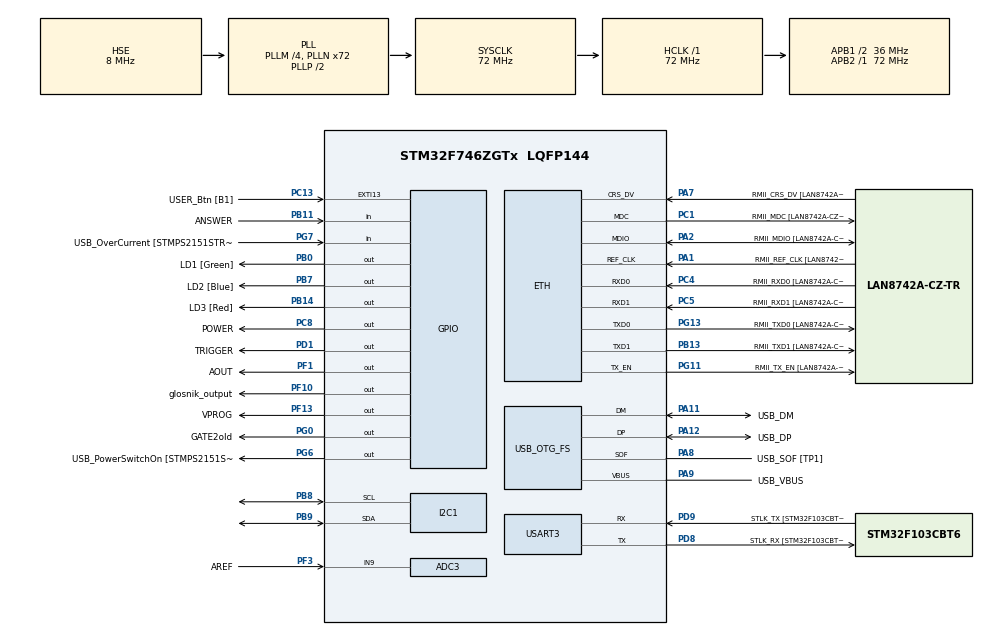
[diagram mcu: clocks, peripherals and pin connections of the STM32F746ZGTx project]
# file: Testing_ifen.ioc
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ADC3.Channel-0\#ChannelRegularConversion=ADC_CHANNEL_9
ADC3.NbrOfConversionFlag=1
ADC3.Rank-0\#ChannelRegularConversion=1
ADC3.SamplingTime-0\#ChannelRegularConversion=ADC_SAMPLETIME_3CYCLES
ETH.MediaInterface=HAL_ETH_RMII_MODE
ETH.PHY_Name=LAN8742A_PHY_ADDRESS
ETH.PHY_Value=0
ETH.PhyAddress=0
I2C1.Timing=0x00808CD2
Mcu.Family=STM32F7
Mcu.Name=STM32F746ZGTx
Mcu.Package=LQFP144
NVIC.PriorityGroup=NVIC_PRIORITYGROUP_4
NVIC.TIM3_IRQn=true\:0\:0\:false\:false\:true\:true\:true\:true
NVIC.TIM4_IRQn=true\:0\:0\:false\:false\:true\:true\:true\:true
PA1.GPIO_Label=RMII_REF_CLK [LAN8742A-CZ-TR_REFCLK0]
PA1.Mode=RMII
PA1.Signal=ETH_REF_CLK
PA10.GPIO_Label=USB_ID
PA10.Signal=USB_OTG_FS_ID
PA11.GPIO_Label=USB_DM
PA11.Mode=Device_Only
PA11.Signal=USB_OTG_FS_DM
PA12.GPIO_Label=USB_DP
PA12.Mode=Device_Only
PA12.Signal=USB_OTG_FS_DP
PA13.GPIO_Label=TMS
PA13.Mode=Serial_Wire
PA13.Signal=SYS_JTMS-SWDIO
PA14.GPIO_Label=TCK
PA14.Mode=Serial_Wire
PA14.Signal=SYS_JTCK-SWCLK
PA2.GPIO_Label=RMII_MDIO [LAN8742A-CZ-TR_MDIO]
PA2.Mode=RMII
PA2.Signal=ETH_MDIO
PA7.GPIO_Label=RMII_CRS_DV [LAN8742A-CZ-TR_CRS_DV]
PA7.Mode=RMII
PA7.Signal=ETH_CRS_DV
PA8.GPIO_Label=USB_SOF [TP1]
PA8.Mode=Activate_SOF_FS
PA8.Signal=USB_OTG_FS_SOF
PA9.GPIO_Label=USB_VBUS
PA9.Mode=Activate_VBUS
PA9.Signal=USB_OTG_FS_VBUS
PB0.GPIO_Label=LD1 [Green]
PB0.Signal=GPIO_Output
PB11.GPIO_Label=ANSWER
PB11.Signal=GPIO_Input
PB13.GPIO_Label=RMII_TXD1 [LAN8742A-CZ-TR_TXD1]
PB13.Mode=RMII
PB13.Signal=ETH_TXD1
PB14.GPIO_Label=LD3 [Red]
PB14.Signal=GPIO_Output
PB3.GPIO_Label=SW0
PB3.Signal=SYS_JTDO-SWO
PB7.GPIO_Label=LD2 [Blue]
PB7.Signal=GPIO_Output
PB8.Mode=I2C
PB8.Signal=I2C1_SCL
PB9.Mode=I2C
PB9.Signal=I2C1_SDA
PC1.GPIO_Label=RMII_MDC [LAN8742A-CZ-TR_MDC]
PC1.Mode=RMII
PC1.Signal=ETH_MDC
PC13.GPIO_Label=USER_Btn [B1]
PC13.Signal=GPXTI13
PC14/OSC32_IN.Mode=LSE-External-Oscillator
PC14/OSC32_IN.Signal=RCC_OSC32_IN
PC15/OSC32_OUT.Mode=LSE-External-Oscillator
PC15/OSC32_OUT.Signal=RCC_OSC32_OUT
PC4.GPIO_Label=RMII_RXD0 [LAN8742A-CZ-TR_RXD0]
PC4.Mode=RMII
PC4.Signal=ETH_RXD0
PC5.GPIO_Label=RMII_RXD1 [LAN8742A-CZ-TR_RXD1]
PC5.Mode=RMII
PC5.Signal=ETH_RXD1
PC8.GPIO_Label=POWER
PC8.GPIO_ModeDefaultOutputPP=GPIO_MODE_OUTPUT_OD
PC8.GPIO_PuPd=GPIO_PULLUP
PC8.Signal=GPIO_Output
PD1.GPIO_Label=TRIGGER
PD1.Signal=GPIO_Output
PD8.GPIO_Label=STLK_RX [STM32F103CBT6_PA3]
PD8.GPIO_PuPd=GPIO_PULLUP
PD8.Mode=Asynchronous
PD8.Signal=USART3_TX
PD9.GPIO_Label=STLK_TX [STM32F103CBT6_PA2]
PD9.GPIO_PuPd=GPIO_PULLUP
PD9.Mode=Asynchronous
PD9.Signal=USART3_RX
PF1.GPIO_Label=AOUT
PF1.GPIO_ModeDefaultOutputPP=GPIO_MODE_OUTPUT_OD
PF1.GPIO_PuPd=GPIO_PULLUP
PF1.GPIO_Speed=GPIO_SPEED_FREQ_LOW
PF1.Signal=GPIO_Output
PF10.GPIO_Label=glosnik_output
PF10.Signal=GPIO_Output
PF13.GPIO_Label=VPROG
PF13.Signal=GPIO_Output
PF3.GPIO_Label=AREF
PF3.Mode=IN9
PF3.Signal=ADC3_IN9
PG0.GPIO_Label=GATE2old
PG0.Signal=GPIO_Output
PG11.GPIO_Label=RMII_TX_EN [LAN8742A-CZ-TR_TXEN]
PG11.Mode=RMII
PG11.Signal=ETH_TX_EN
PG13.GPIO_Label=RMII_TXD0 [LAN8742A-CZ-TR_TXD0]
PG13.Mode=RMII
PG13.Signal=ETH_TXD0
PG6.GPIO_Label=USB_PowerSwitchOn [STMPS2151STR_EN]
PG6.Signal=GPIO_Output
PG7.GPIO_Label=USB_OverCurrent [STMPS2151STR_FAULT]
PG7.Signal=GPIO_Input
PH0/OSC_IN.GPIO_Label=MCO [STM32F103CBT6_PA8]
PH0/OSC_IN.Mode=HSE-External-Oscillator
PH0/OSC_IN.Signal=RCC_OSC_IN
PH1/OSC_OUT.Mode=HSE-External-Oscillator
PH1/OSC_OUT.Signal=RCC_OSC_OUT
ProjectManager.HeapSize=0x200
ProjectManager.StackSize=0x400
ProjectManager.TargetToolchain=STM32CubeIDE
RCC.48MHZClocksFreq_Value=24000000
RCC.AHBFreq_Value=72000000
RCC.APB1CLKDivider=RCC_HCLK_DIV2
RCC.APB1Freq_Value=36000000
RCC.APB1TimFreq_Value=72000000
RCC.APB2Freq_Value=72000000
RCC.APB2TimFreq_Value=72000000
RCC.CortexFreq_Value=72000000
RCC.HCLKFreq_Value=72000000
RCC.HSE_VALUE=8000000
RCC.HSI_VALUE=16000000
RCC.PLLM=4
RCC.PLLMUL=RCC_PLL_MUL9
RCC.PLLN=72
RCC.PLLQ=3
RCC.PRESCALERUSB=RCC_USBCLKSOURCE_PLL_DIV1_5
RCC.SYSCLKFreq_VALUE=72000000
RCC.SYSCLKSource=RCC_SYSCLKSOURCE_PLLCLK
RCC.SYSCLKSourceVirtual=RCC_SYSCLKSOURCE_PLLCLK
RCC.USBFreq_Value=48000000
RCC.VCOOutputFreq_Value=144000000
TIM1.Prescaler=720
TIM3.Period=10-1
TIM3.Prescaler=720-1
TIM4.Period=10000-1
TIM4.Prescaler=7200-1
USART3.VirtualMode-Asynchronous=VM_ASYNC
USB_OTG_FS.VirtualMode=Device_Only
VP_TIM1_VS_ClockSourceINT.Mode=Internal
VP_TIM3_VS_ClockSourceINT.Mode=Internal
VP_TIM4_VS_ClockSourceINT.Mode=Internal
board=NUCLEO-F746ZG

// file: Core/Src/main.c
/* USER CODE BEGIN Header */
/**
  ******************************************************************************
  * @file           : main.c
  * @brief          : Main program body
  ******************************************************************************
  * @attention
  *
  * Copyright (c) 2025 STMicroelectronics.
  * All rights reserved.
  *
  * This software is licensed under terms that can be found in the LICENSE file
  * in the root directory of this software component.
  * If no LICENSE file comes with this software, it is provided AS-IS.
  *
  ******************************************************************************
  */
/* USER CODE END Header */
#include "main.h"
#include "string.h"

/* USER CODE BEGIN Includes */
#include <stdbool.h>
/* USER CODE END Includes */

/* USER CODE BEGIN PD */
#define CRC_POLYNOMIAL 0x1D
#define CRC_SEED 0xAA

/* USER CODE END PD */

#if defined ( __ICCARM__ ) /*!< IAR Compiler */
#pragma location=0x2004c000
ETH_DMADescTypeDef  DMARxDscrTab[ETH_RX_DESC_CNT]; /* Ethernet Rx DMA Descriptors */
#pragma location=0x2004c0a0
ETH_DMADescTypeDef  DMATxDscrTab[ETH_TX_DESC_CNT]; /* Ethernet Tx DMA Descriptors */

#elif defined ( __CC_ARM )  /* MDK ARM Compiler */

__attribute__((at(0x2004c000))) ETH_DMADescTypeDef  DMARxDscrTab[ETH_RX_DESC_CNT]; /* Ethernet Rx DMA Descriptors */
__attribute__((at(0x2004c0a0))) ETH_DMADescTypeDef  DMATxDscrTab[ETH_TX_DESC_CNT]; /* Ethernet Tx DMA Descriptors */

#elif defined ( __GNUC__ ) /* GNU Compiler */

ETH_DMADescTypeDef DMARxDscrTab[ETH_RX_DESC_CNT] __attribute__((section(".RxDecripSection"))); /* Ethernet Rx DMA Descriptors */
ETH_DMADescTypeDef DMATxDscrTab[ETH_TX_DESC_CNT] __attribute__((section(".TxDecripSection")));   /* Ethernet Tx DMA Descriptors */
#endif

ETH_TxPacketConfig TxConfig;

ADC_HandleTypeDef hadc3;

ETH_HandleTypeDef heth;

I2C_HandleTypeDef hi2c1;

TIM_HandleTypeDef htim1;
TIM_HandleTypeDef htim3;
TIM_HandleTypeDef htim4;

UART_HandleTypeDef huart3;

PCD_HandleTypeDef hpcd_USB_OTG_FS;

void SystemClock_Config(void);
static void MX_GPIO_Init(void);
static void MX_ETH_Init(void);
static void MX_I2C1_Init(void);
static void MX_USART3_UART_Init(void);
static void MX_USB_OTG_FS_PCD_Init(void);
static void MX_ADC3_Init(void);
static void MX_TIM3_Init(void);
static void MX_TIM4_Init(void);
static void MX_TIM1_Init(void);

/* USER CODE BEGIN 0 */

uint8_t crc_value = 0;
uint8_t checkmark = 0;
uint8_t bit_counter = 0;
uint8_t word_counter = 0;
uint8_t reg_counter = 0;
uint8_t reg_selector = 0;
uint8_t sequence_counter = 0;
uint16_t vprog_counter = 0;

uint16_t picker = 1;

const uint8_t FrameMatrix[2][6] = {{0, 1  ,1,    0,     1,   1}, {0     ,0     ,1,     0   ,1    ,1 }};
const uint8_t TIFEN_Matrix[6] = {0,0,0,0,1,1};

const uint16_t WordABCD = 0xABCD;
uint16_t EPROMreg[2][18] = {0}; // you can read EEPROM in 'live expressions' sesction in debugging. Just run the program, go into debug section (shortcut: F11), click 'resume' (F8) and go into 'live expressions'.
const uint16_t ReadWords[38] = {0x8250, 0x8000, 0x0400, 0xffff, 0x0410, 0xffff, 0x0420, 0xffff, 0x0430, 0xffff, 0x0440, 0xffff,
		 0x0450, 0xffff,  0x0460, 0xffff, 0x0470, 0xffff, 0x0480, 0xffff, 0x0490, 0xffff, 0x04a0, 0xffff, 0x04b0, 0xffff,
		 0x04c0, 0xffff, 0x04d0, 0xffff, 0x04e0, 0xffff, 0x04f0, 0xffff, 0x0500, 0xffff, 0x0510, 0xffff};
//uint16_t WriteWords[18] = {1,2,3,4, 5,6,7,8, 9,0xa,0xb,0xc, 0xd,0xe,0xf,0x10, 0x11,0x12}; // dodac wyrazy do zapisania na EEPROM
uint16_t ProgrammingSeq[12] = {0x8400, 0x0, 0x83e0, 0x024f, 0x83e0, 0x024c, 0x8400, 0x0, 0x83e0, 0x024e, 0x83e0, 0x024c}; // dodac programming sequence
uint8_t glosnik_counter = 0;
//Below is the same values as default but with 0xc00c on 0x40 address which means that MEAS_RNG is 50A with 24mV/A
uint16_t WriteWords[18] = {0xc038,0x8e57,0x0,0xf288,0x16f,0x1,0xc862,0xe1fb,0xff,0xe6,0x3e,0x18e7,0x0,0xb700,0xc0f,0x1c51,0xb6cf,0x180}; // dodac wyrazy do zapisania na EEPROM

//variables for custom message:

const uint16_t CustomMsg[] = {0x8250, 0x8000, 0x0180, 0xffff};//custom massage to send to TLI4971
#define custom_msg_size (sizeof(CustomMsg)/sizeof(CustomMsg[0]))
const uint8_t AnswerSchematic[custom_msg_size] = {0, 0, 0, 1};// Most of the time you don't need to read what TLI is sending so to not fill AnswerCustomArray with garbage, you can write '1' to specify when to read the answer. Write all '1' in array to read every word the TLI is sending.
uint8_t AnswerCustomMsg_counter = 0;
uint16_t AnswerCustomMsg[custom_msg_size] = {0};
//uint16_t *AnswerCustomMsg = NULL;

//uint32_t WORD[5] = {0xabcd, 0x8250, 0x8000, 0x180, 0xffff}; // TEMPERATURA;
//                    0         1      2      3        4        5     6        7      8       9      10        11
//uint32_t WORD[39] = {0xabcd, 0x8250, 0x8000, 0x0400,0xFFFF, 0x0410,0xFFFF,0x0420,0xFFFF,0x0430,0xFFFF,0x0440,0xFFFF,0x0450,0xFFFF,0x0460,0xFFFF,0x0470,0xFFFF,0x0480,0xFFFF,0x0490,0xFFFF,0x04a0,0xFFFF,0x04b0,0xFFFF,0x04c0,0xFFFF,0x04d0,0xFFFF,0x04e0,0xFFFF,0x04f0,0xFFFF,0x0500,0xFFFF,0x0510,0xFFFF};
//uint32_t WORD[12] = {0xabcd, 0x8250, 0x8000, 0x8010, 0x0000, 0x0110,0xFFFF, 0x8110, 0xc00c, 0xffff, 0x0110, 0xffff };
//uint32_t WORD[10] = {0xabcd, 0x8250, 0x8000, 0x8010, 0x0000, 0x0420, 0x0420, 0x0410, 0x0410, 0xffff};
//uint32_t WORD[12] = {0xabcd, 0x8250, 0x8000,0x8000, 0x8010, 0x0400, 0xffff, 0x8400, 0xc00c, 0xffff, 0x0400, 0xffff }; //, 0x8010, 0x0000, 0x0430,0xFFFF, 0x0140, 0xFFFF };

/* USER CODE END 0 */

int main(void)
{

  /* USER CODE BEGIN 1 */

//	AnswerCustomMsg = calloc(sumOfArray(AnswerSchematic, sizeof(AnswerSchematic)), sizeof(uint16_t));
//	AnswerCustomMsg = calloc( 4, sizeof(uint16_t));

  /* USER CODE END 1 */

  /* MCU Configuration--------------------------------------------------------*/

  /* Reset of all peripherals, Initializes the Flash interface and the Systick. */
  HAL_Init();

  /* Configure the system clock */
  SystemClock_Config();

  /* Initialize all configured peripherals */
  MX_GPIO_Init();
  MX_ETH_Init();
  MX_I2C1_Init();
  MX_USART3_UART_Init();
  MX_USB_OTG_FS_PCD_Init();
  MX_ADC3_Init();
  MX_TIM3_Init();
  MX_TIM4_Init();
  MX_TIM1_Init();
  /* USER CODE BEGIN 2 */

  HAL_TIM_Base_Start_IT(&htim3);
  HAL_TIM_Base_Start_IT(&htim1);
  HAL_TIM_Base_Start_IT(&htim4);

  /* USER CODE END 2 */

  /* Infinite loop */
  while (1)
  {

  }
}

void SystemClock_Config(void)
{
  RCC_OscInitTypeDef RCC_OscInitStruct = {0};
  RCC_ClkInitTypeDef RCC_ClkInitStruct = {0};

  /** Configure LSE Drive Capability
  */
  HAL_PWR_EnableBkUpAccess();

  /** Configure the main internal regulator output voltage
  */
  __HAL_RCC_PWR_CLK_ENABLE();
  __HAL_PWR_VOLTAGESCALING_CONFIG(PWR_REGULATOR_VOLTAGE_SCALE3);

  /** Initializes the RCC Oscillators according to the specified parameters
  * in the RCC_OscInitTypeDef structure.
  */
  RCC_OscInitStruct.OscillatorType = RCC_OSCILLATORTYPE_HSE;
  RCC_OscInitStruct.HSEState = RCC_HSE_ON;
  RCC_OscInitStruct.PLL.PLLState = RCC_PLL_ON;
  RCC_OscInitStruct.PLL.PLLSource = RCC_PLLSOURCE_HSE;
  RCC_OscInitStruct.PLL.PLLM = 4;
  RCC_OscInitStruct.PLL.PLLN = 72;
  RCC_OscInitStruct.PLL.PLLP = RCC_PLLP_DIV2;
  RCC_OscInitStruct.PLL.PLLQ = 3;
  if (HAL_RCC_OscConfig(&RCC_OscInitStruct) != HAL_OK)
  {
    Error_Handler();
  }

  /** Initializes the CPU, AHB and APB buses clocks
  */
  RCC_ClkInitStruct.ClockType = RCC_CLOCKTYPE_HCLK|RCC_CLOCKTYPE_SYSCLK
                              |RCC_CLOCKTYPE_PCLK1|RCC_CLOCKTYPE_PCLK2;
  RCC_ClkInitStruct.SYSCLKSource = RCC_SYSCLKSOURCE_PLLCLK;
  RCC_ClkInitStruct.AHBCLKDivider = RCC_SYSCLK_DIV1;
  RCC_ClkInitStruct.APB1CLKDivider = RCC_HCLK_DIV2;
  RCC_ClkInitStruct.APB2CLKDivider = RCC_HCLK_DIV1;

  if (HAL_RCC_ClockConfig(&RCC_ClkInitStruct, FLASH_LATENCY_2) != HAL_OK)
  {
    Error_Handler();
  }
}

static void MX_ADC3_Init(void)
{

  ADC_ChannelConfTypeDef sConfig = {0};

  /** Configure the global features of the ADC (Clock, Resolution, Data Alignment and number of conversion)
  */
  hadc3.Instance = ADC3;
  hadc3.Init.ClockPrescaler = ADC_CLOCK_SYNC_PCLK_DIV2;
  hadc3.Init.Resolution = ADC_RESOLUTION_12B;
  hadc3.Init.ScanConvMode = ADC_SCAN_DISABLE;
  hadc3.Init.ContinuousConvMode = DISABLE;
  hadc3.Init.DiscontinuousConvMode = DISABLE;
  hadc3.Init.ExternalTrigConvEdge = ADC_EXTERNALTRIGCONVEDGE_NONE;
  hadc3.Init.ExternalTrigConv = ADC_SOFTWARE_START;
  hadc3.Init.DataAlign = ADC_DATAALIGN_RIGHT;
  hadc3.Init.NbrOfConversion = 1;
  hadc3.Init.DMAContinuousRequests = DISABLE;
  hadc3.Init.EOCSelection = ADC_EOC_SINGLE_CONV;
  if (HAL_ADC_Init(&hadc3) != HAL_OK)
  {
    Error_Handler();
  }

  /** Configure for the selected ADC regular channel its corresponding rank in the sequencer and its sample time.
  */
  sConfig.Channel = ADC_CHANNEL_9;
  sConfig.Rank = ADC_REGULAR_RANK_1;
  sConfig.SamplingTime = ADC_SAMPLETIME_3CYCLES;
  if (HAL_ADC_ConfigChannel(&hadc3, &sConfig) != HAL_OK)
  {
    Error_Handler();
  }

}

static void MX_ETH_Init(void)
{

   static uint8_t MACAddr[6];

  heth.Instance = ETH;
  MACAddr[0] = 0x00;
  MACAddr[1] = 0x80;
  MACAddr[2] = 0xE1;
  MACAddr[3] = 0x00;
  MACAddr[4] = 0x00;
  MACAddr[5] = 0x00;
  heth.Init.MACAddr = &MACAddr[0];
  heth.Init.MediaInterface = HAL_ETH_RMII_MODE;
  heth.Init.TxDesc = DMATxDscrTab;
  heth.Init.RxDesc = DMARxDscrTab;
  heth.Init.RxBuffLen = 1524;

  if (HAL_ETH_Init(&heth) != HAL_OK)
  {
    Error_Handler();
  }

  memset(&TxConfig, 0 , sizeof(ETH_TxPacketConfig));
  TxConfig.Attributes = ETH_TX_PACKETS_FEATURES_CSUM | ETH_TX_PACKETS_FEATURES_CRCPAD;
  TxConfig.ChecksumCtrl = ETH_CHECKSUM_IPHDR_PAYLOAD_INSERT_PHDR_CALC;
  TxConfig.CRCPadCtrl = ETH_CRC_PAD_INSERT;

}

static void MX_I2C1_Init(void)
{

  hi2c1.Instance = I2C1;
  hi2c1.Init.Timing = 0x00808CD2;
  hi2c1.Init.OwnAddress1 = 0;
  hi2c1.Init.AddressingMode = I2C_ADDRESSINGMODE_7BIT;
  hi2c1.Init.DualAddressMode = I2C_DUALADDRESS_DISABLE;
  hi2c1.Init.OwnAddress2 = 0;
  hi2c1.Init.OwnAddress2Masks = I2C_OA2_NOMASK;
  hi2c1.Init.GeneralCallMode = I2C_GENERALCALL_DISABLE;
  hi2c1.Init.NoStretchMode = I2C_NOSTRETCH_DISABLE;
  if (HAL_I2C_Init(&hi2c1) != HAL_OK)
  {
    Error_Handler();
  }

  /** Configure Analogue filter
  */
  if (HAL_I2CEx_ConfigAnalogFilter(&hi2c1, I2C_ANALOGFILTER_ENABLE) != HAL_OK)
  {
    Error_Handler();
  }

  /** Configure Digital filter
  */
  if (HAL_I2CEx_ConfigDigitalFilter(&hi2c1, 0) != HAL_OK)
  {
    Error_Handler();
  }

}

static void MX_TIM1_Init(void)
{

  TIM_ClockConfigTypeDef sClockSourceConfig = {0};
  TIM_MasterConfigTypeDef sMasterConfig = {0};

  htim1.Instance = TIM1;
  htim1.Init.Prescaler = 720;
  htim1.Init.CounterMode = TIM_COUNTERMODE_UP;
  htim1.Init.Period = 65535;
  htim1.Init.ClockDivision = TIM_CLOCKDIVISION_DIV1;
  htim1.Init.RepetitionCounter = 0;
  htim1.Init.AutoReloadPreload = TIM_AUTORELOAD_PRELOAD_DISABLE;
  if (HAL_TIM_Base_Init(&htim1) != HAL_OK)
  {
    Error_Handler();
  }
  sClockSourceConfig.ClockSource = TIM_CLOCKSOURCE_INTERNAL;
  if (HAL_TIM_ConfigClockSource(&htim1, &sClockSourceConfig) != HAL_OK)
  {
    Error_Handler();
  }
  sMasterConfig.MasterOutputTrigger = TIM_TRGO_RESET;
  sMasterConfig.MasterOutputTrigger2 = TIM_TRGO2_RESET;
  sMasterConfig.MasterSlaveMode = TIM_MASTERSLAVEMODE_DISABLE;
  if (HAL_TIMEx_MasterConfigSynchronization(&htim1, &sMasterConfig) != HAL_OK)
  {
    Error_Handler();
  }

}

static void MX_TIM3_Init(void)
{

  TIM_ClockConfigTypeDef sClockSourceConfig = {0};
  TIM_MasterConfigTypeDef sMasterConfig = {0};

  htim3.Instance = TIM3;
  htim3.Init.Prescaler = 720-1;
  htim3.Init.CounterMode = TIM_COUNTERMODE_UP;
  htim3.Init.Period = 10-1;
  htim3.Init.ClockDivision = TIM_CLOCKDIVISION_DIV1;
  htim3.Init.AutoReloadPreload = TIM_AUTORELOAD_PRELOAD_DISABLE;
  if (HAL_TIM_Base_Init(&htim3) != HAL_OK)
  {
    Error_Handler();
  }
  sClockSourceConfig.ClockSource = TIM_CLOCKSOURCE_INTERNAL;
  if (HAL_TIM_ConfigClockSource(&htim3, &sClockSourceConfig) != HAL_OK)
  {
    Error_Handler();
  }
  sMasterConfig.MasterOutputTrigger = TIM_TRGO_RESET;
  sMasterConfig.MasterSlaveMode = TIM_MASTERSLAVEMODE_DISABLE;
  if (HAL_TIMEx_MasterConfigSynchronization(&htim3, &sMasterConfig) != HAL_OK)
  {
    Error_Handler();
  }

}

static void MX_TIM4_Init(void)
{

  TIM_ClockConfigTypeDef sClockSourceConfig = {0};
  TIM_MasterConfigTypeDef sMasterConfig = {0};

  htim4.Instance = TIM4;
  htim4.Init.Prescaler = 7200-1;
  htim4.Init.CounterMode = TIM_COUNTERMODE_UP;
  htim4.Init.Period = 10000-1;
  htim4.Init.ClockDivision = TIM_CLOCKDIVISION_DIV1;
  htim4.Init.AutoReloadPreload = TIM_AUTORELOAD_PRELOAD_DISABLE;
  if (HAL_TIM_Base_Init(&htim4) != HAL_OK)
  {
    Error_Handler();
  }
  sClockSourceConfig.ClockSource = TIM_CLOCKSOURCE_INTERNAL;
  if (HAL_TIM_ConfigClockSource(&htim4, &sClockSourceConfig) != HAL_OK)
  {
    Error_Handler();
  }
  sMasterConfig.MasterOutputTrigger = TIM_TRGO_RESET;
  sMasterConfig.MasterSlaveMode = TIM_MASTERSLAVEMODE_DISABLE;
  if (HAL_TIMEx_MasterConfigSynchronization(&htim4, &sMasterConfig) != HAL_OK)
  {
    Error_Handler();
  }

}

static void MX_USART3_UART_Init(void)
{

  huart3.Instance = USART3;
  huart3.Init.BaudRate = 115200;
  huart3.Init.WordLength = UART_WORDLENGTH_8B;
  huart3.Init.StopBits = UART_STOPBITS_1;
  huart3.Init.Parity = UART_PARITY_NONE;
  huart3.Init.Mode = UART_MODE_TX_RX;
  huart3.Init.HwFlowCtl = UART_HWCONTROL_NONE;
  huart3.Init.OverSampling = UART_OVERSAMPLING_16;
  huart3.Init.OneBitSampling = UART_ONE_BIT_SAMPLE_DISABLE;
  huart3.AdvancedInit.AdvFeatureInit = UART_ADVFEATURE_NO_INIT;
  if (HAL_UART_Init(&huart3) != HAL_OK)
  {
    Error_Handler();
  }

}

static void MX_USB_OTG_FS_PCD_Init(void)
{

  hpcd_USB_OTG_FS.Instance = USB_OTG_FS;
  hpcd_USB_OTG_FS.Init.dev_endpoints = 6;
  hpcd_USB_OTG_FS.Init.speed = PCD_SPEED_FULL;
  hpcd_USB_OTG_FS.Init.dma_enable = DISABLE;
  hpcd_USB_OTG_FS.Init.phy_itface = PCD_PHY_EMBEDDED;
  hpcd_USB_OTG_FS.Init.Sof_enable = ENABLE;
  hpcd_USB_OTG_FS.Init.low_power_enable = DISABLE;
  hpcd_USB_OTG_FS.Init.lpm_enable = DISABLE;
  hpcd_USB_OTG_FS.Init.vbus_sensing_enable = ENABLE;
  hpcd_USB_OTG_FS.Init.use_dedicated_ep1 = DISABLE;
  if (HAL_PCD_Init(&hpcd_USB_OTG_FS) != HAL_OK)
  {
    Error_Handler();
  }

}

static void MX_GPIO_Init(void)
{
  GPIO_InitTypeDef GPIO_InitStruct = {0};

  /* GPIO Ports Clock Enable */
  __HAL_RCC_GPIOC_CLK_ENABLE();
  __HAL_RCC_GPIOF_CLK_ENABLE();
  __HAL_RCC_GPIOH_CLK_ENABLE();
  __HAL_RCC_GPIOA_CLK_ENABLE();
  __HAL_RCC_GPIOB_CLK_ENABLE();
  __HAL_RCC_GPIOG_CLK_ENABLE();
  __HAL_RCC_GPIOD_CLK_ENABLE();

  /*Configure GPIO pin Output Level */
  HAL_GPIO_WritePin(GPIOF, AOUT_Pin|glosnik_output_Pin|VPROG_Pin, GPIO_PIN_RESET);

  /*Configure GPIO pin Output Level */
  HAL_GPIO_WritePin(GPIOB, LD1_Pin|LD3_Pin|LD2_Pin, GPIO_PIN_RESET);

  /*Configure GPIO pin Output Level */
  HAL_GPIO_WritePin(GPIOG, GATE2old_Pin|USB_PowerSwitchOn_Pin, GPIO_PIN_RESET);

  /*Configure GPIO pin Output Level */
  HAL_GPIO_WritePin(POWER_GPIO_Port, POWER_Pin, GPIO_PIN_RESET);

  /*Configure GPIO pin Output Level */
  HAL_GPIO_WritePin(TRIGGER_GPIO_Port, TRIGGER_Pin, GPIO_PIN_RESET);

  /*Configure GPIO pin : USER_Btn_Pin */
  GPIO_InitStruct.Pin = USER_Btn_Pin;
  GPIO_InitStruct.Mode = GPIO_MODE_IT_RISING;
  GPIO_InitStruct.Pull = GPIO_NOPULL;
  HAL_GPIO_Init(USER_Btn_GPIO_Port, &GPIO_InitStruct);

  /*Configure GPIO pin : AOUT_Pin */
  GPIO_InitStruct.Pin = AOUT_Pin;
  GPIO_InitStruct.Mode = GPIO_MODE_OUTPUT_OD;
  GPIO_InitStruct.Pull = GPIO_PULLUP;
  GPIO_InitStruct.Speed = GPIO_SPEED_FREQ_LOW;
  HAL_GPIO_Init(AOUT_GPIO_Port, &GPIO_InitStruct);

  /*Configure GPIO pins : glosnik_output_Pin VPROG_Pin */
  GPIO_InitStruct.Pin = glosnik_output_Pin|VPROG_Pin;
  GPIO_InitStruct.Mode = GPIO_MODE_OUTPUT_PP;
  GPIO_InitStruct.Pull = GPIO_NOPULL;
  GPIO_InitStruct.Speed = GPIO_SPEED_FREQ_LOW;
  HAL_GPIO_Init(GPIOF, &GPIO_InitStruct);

  /*Configure GPIO pins : LD1_Pin LD3_Pin LD2_Pin */
  GPIO_InitStruct.Pin = LD1_Pin|LD3_Pin|LD2_Pin;
  GPIO_InitStruct.Mode = GPIO_MODE_OUTPUT_PP;
  GPIO_InitStruct.Pull = GPIO_NOPULL;
  GPIO_InitStruct.Speed = GPIO_SPEED_FREQ_LOW;
  HAL_GPIO_Init(GPIOB, &GPIO_InitStruct);

  /*Configure GPIO pins : GATE2old_Pin USB_PowerSwitchOn_Pin */
  GPIO_InitStruct.Pin = GATE2old_Pin|USB_PowerSwitchOn_Pin;
  GPIO_InitStruct.Mode = GPIO_MODE_OUTPUT_PP;
  GPIO_InitStruct.Pull = GPIO_NOPULL;
  GPIO_InitStruct.Speed = GPIO_SPEED_FREQ_LOW;
  HAL_GPIO_Init(GPIOG, &GPIO_InitStruct);

  /*Configure GPIO pin : ANSWER_Pin */
  GPIO_InitStruct.Pin = ANSWER_Pin;
  GPIO_InitStruct.Mode = GPIO_MODE_INPUT;
  GPIO_InitStruct.Pull = GPIO_NOPULL;
  HAL_GPIO_Init(ANSWER_GPIO_Port, &GPIO_InitStruct);

  /*Configure GPIO pin : USB_OverCurrent_Pin */
  GPIO_InitStruct.Pin = USB_OverCurrent_Pin;
  GPIO_InitStruct.Mode = GPIO_MODE_INPUT;
  GPIO_InitStruct.Pull = GPIO_NOPULL;
  HAL_GPIO_Init(USB_OverCurrent_GPIO_Port, &GPIO_InitStruct);

  /*Configure GPIO pin : POWER_Pin */
  GPIO_InitStruct.Pin = POWER_Pin;
  GPIO_InitStruct.Mode = GPIO_MODE_OUTPUT_OD;
  GPIO_InitStruct.Pull = GPIO_PULLUP;
  GPIO_InitStruct.Speed = GPIO_SPEED_FREQ_LOW;
  HAL_GPIO_Init(POWER_GPIO_Port, &GPIO_InitStruct);

  /*Configure GPIO pin : TRIGGER_Pin */
  GPIO_InitStruct.Pin = TRIGGER_Pin;
  GPIO_InitStruct.Mode = GPIO_MODE_OUTPUT_PP;
  GPIO_InitStruct.Pull = GPIO_NOPULL;
  GPIO_InitStruct.Speed = GPIO_SPEED_FREQ_LOW;
  HAL_GPIO_Init(TRIGGER_GPIO_Port, &GPIO_InitStruct);

}

/* USER CODE BEGIN 4 */
uint8_t crc8(uint8_t *data, uint8_t length) {
    uint32_t crc = CRC_SEED;

    for (int i = 0; i < length; i++) {
        crc ^= data[i];
        for (int bit = 0; bit < 8; bit++) {
            if (crc & 0x80) {
                crc <<= 1;
                crc ^= CRC_POLYNOMIAL;
            } else {
                crc <<= 1;
            }
        }
    }
    return (uint8_t)(~crc);
}

uint8_t crcCalc(uint16_t *data, int len) {
    uint8_t crcData8[len * 2];

    for (int i = 0; i < len; i++) {
        crcData8[i * 2]     = (data[(i + 3) % 18] >> 8 ) & 0xFF; // high byte
        crcData8[i * 2 + 1] = (data[(i + 3) % 18]) & 0xFF;      // low byte
    }

    return crc8(crcData8, len * 2 - 1); // exclude last byte
}

bool checkCRC(uint16_t *data, int len) {
    uint8_t checkSum = data[2] & 0xFF; // CRC lower byte in EEPROM line 2
    return checkSum == crcCalc(data, len);
}

void HAL_TIM_PeriodElapsedCallback(TIM_HandleTypeDef *htim){
	if(htim->Instance == TIM4){ //checks every 1 sec if the usr button is pressed. If usr btn is pressed, the program start.
		  if(HAL_GPIO_ReadPin(USER_Btn_GPIO_Port, USER_Btn_Pin)){
			  HAL_GPIO_WritePin(POWER_GPIO_Port, POWER_Pin, RESET);
			  picker = 1; // picker is a fundamental value (2^n for n = {0, 1,2,3,...}) that selects correct bit from a word...
			  //...for example: picker & word = 000100 & 101101 = 100.  00010 & 101101 = 0. With this logic we can sequentially select which bit to send.
			  checkmark = 1;
			  //reseting counters and setting up ProgrammingSeq array:
			  sequence_counter = 0;
			  AnswerCustomMsg_counter = 0;
			  bit_counter = 0; // bit_counter is the smallest counter, it counts from 0 to 5, to guide the FrameMatrix when sending frames.
				ProgrammingSeq[0] = 0x8400;
				ProgrammingSeq[1] = WriteWords[sequence_counter];
				ProgrammingSeq[6] = 0x8400;
				ProgrammingSeq[7] = WriteWords[sequence_counter];
				memset(AnswerCustomMsg, 0, sizeof(AnswerCustomMsg));

		  }
	}
	if(htim->Instance == TIM3){ // The main timer interrupt. Runs every 100us.

		switch(checkmark){
			case 0:
				break;
			case 1: //Powering up the sensor
				HAL_GPIO_WritePin(AOUT_GPIO_Port, AOUT_Pin, TIFEN_Matrix[bit_counter]); //setting 0 to Aout.
				HAL_GPIO_WritePin(POWER_GPIO_Port, POWER_Pin, SET); //Turning on voltage stabilizer TC1014
				bit_counter ++ ;
				if(bit_counter >= 5){
					bit_counter = 0;
					checkmark = 2;
				}
				break;
			case 2: //Writing enter interface sequence
				HAL_GPIO_WritePin(TRIGGER_GPIO_Port, TRIGGER_Pin,0); //Triggers step-down signalizes start of a frame. (Useful only for reading with osciloscope)
				HAL_GPIO_WritePin(AOUT_GPIO_Port, AOUT_Pin, FrameMatrix[(picker & WordABCD) && 1][bit_counter]); //FrameMatrix[x][y] has frame struction. The [x] is logic 0/1. The [y] is the sequence of the frame.
				bit_counter ++;
				if(bit_counter >= 6){
					HAL_GPIO_WritePin(TRIGGER_GPIO_Port, TRIGGER_Pin,1);
					bit_counter = 0;
					picker = picker << 1; //the picker goes one bit up, 1 -> 2 -> 4 -> 8 ->... -> 32768. After that the whole word has been sent, and picker resets to picker = 1.
					if(!picker){ // When picker (uint16_t) reaches value of 65536 it will set itself to '0' since the highest number for uint16_t is 65,535. Therefore the condition !picker.
						picker = 1;
						checkmark = 3;
//						checkmark = 7; // Uncomment this line, and comment out checkmark =3; line to write custom message and read the answer from TLI4971
					}
				}
				break;
			case 3: // Reading whole EEPROM register and storing it into EPROMreg matrix (EPROMreg[0] - before change, EPROMreg[1] after change)
				HAL_GPIO_WritePin(TRIGGER_GPIO_Port, TRIGGER_Pin,0);
				if(bit_counter == 5 && ReadWords[word_counter] == 0xffff){ // 0xffff is the NOP, and during sending 0xffff we check for answer.
					EPROMreg[reg_selector][reg_counter] += picker * !HAL_GPIO_ReadPin(ANSWER_GPIO_Port, ANSWER_Pin);
				}
				HAL_GPIO_WritePin(AOUT_GPIO_Port, AOUT_Pin, FrameMatrix[(ReadWords[word_counter] & picker) && 1][bit_counter]);
				bit_counter ++;
				if(bit_counter >= 6){
					HAL_GPIO_WritePin(TRIGGER_GPIO_Port, TRIGGER_Pin,1);
					bit_counter = 0;
					picker = picker << 1;
					if(!picker){
						if(ReadWords[word_counter] == 0xffff){
						reg_counter ++;
						}
						picker = 1;
						word_counter ++;
						if(word_counter >= 38){
							reg_counter = 0;
							word_counter = 0;
							if(reg_selector){
								reg_selector = 0;
								checkmark = 0;
							}
							else{
								reg_selector = 1;
								crc_value = crcCalc(EPROMreg[0], 18);
								WriteWords[2] += crc_value;
							    checkmark = 4;// <- comment out this line for single EEPROM read
//							    checkmark = 0; //<- instert this line for single EEPROM read
							}
						}
					}
				}
				break;
			case 4:
				HAL_GPIO_WritePin(VPROG_GPIO_Port, VPROG_Pin, 0); // Set pin OCD2 to zero after 30ms signal.
				HAL_GPIO_WritePin(TRIGGER_GPIO_Port, TRIGGER_Pin,0);
				HAL_GPIO_WritePin(AOUT_GPIO_Port, AOUT_Pin, FrameMatrix[(picker & ProgrammingSeq[word_counter]) && 1][bit_counter]);
				bit_counter ++;
				if(bit_counter >= 6){
					HAL_GPIO_WritePin(TRIGGER_GPIO_Port, TRIGGER_Pin,1);
					bit_counter = 0;
					picker = picker << 1;
					if(!picker){
						picker = 1;
						word_counter ++;
						switch(word_counter){
							case 4:
							case 10:
								checkmark = 5;
								break;
							case 6:
								checkmark = 6;
								break;
							case 12:
								word_counter = 0;
								sequence_counter ++;
								if(sequence_counter >= 18){
									checkmark = 3;
								}
								else{
									ProgrammingSeq[0] += 0x10;
									ProgrammingSeq[1] = WriteWords[sequence_counter];
									ProgrammingSeq[6] += 0x10;
									ProgrammingSeq[7] = WriteWords[sequence_counter];
								}
								break;
						}
					}
				}
				break;
			case 5: // set Vprog and hold for 30ms
				HAL_GPIO_WritePin(TRIGGER_GPIO_Port, TRIGGER_Pin,0);
				HAL_GPIO_WritePin(AOUT_GPIO_Port, AOUT_Pin, 1);
				HAL_GPIO_WritePin(VPROG_GPIO_Port, VPROG_Pin, 1);
				vprog_counter ++;
				if(vprog_counter >= 300){
					vprog_counter = 0;
					checkmark = 4;
				}
				break;
			case 6: // wait 100us
				HAL_GPIO_WritePin(TRIGGER_GPIO_Port, TRIGGER_Pin,0);
				HAL_GPIO_WritePin(AOUT_GPIO_Port, AOUT_Pin, 1);
				checkmark = 4;
				break;
			case 7: //Sending CustomMsg and reading back the answer into AnswerCustomMsg
				if(bit_counter == 5 && AnswerSchematic[word_counter]==1){
					AnswerCustomMsg[AnswerCustomMsg_counter] += picker * !HAL_GPIO_ReadPin(ANSWER_GPIO_Port, ANSWER_Pin);
				}
				HAL_GPIO_WritePin(TRIGGER_GPIO_Port, TRIGGER_Pin,0);
				HAL_GPIO_WritePin(AOUT_GPIO_Port, AOUT_Pin, FrameMatrix[(picker & CustomMsg[word_counter]) && 1][bit_counter]);
				bit_counter ++;
				if(bit_counter >= 6){
					HAL_GPIO_WritePin(TRIGGER_GPIO_Port, TRIGGER_Pin,1);
					bit_counter = 0;
					picker = picker << 1;
					if(!picker){
						picker = 1;
						if(AnswerSchematic[word_counter] == 1){
							AnswerCustomMsg_counter ++;
						}
						word_counter ++;
						if(word_counter >= custom_msg_size){
							word_counter = 0;
							checkmark = 0;
						}
					}
				}
				break;
		}
}
}

/* USER CODE END 4 */

void Error_Handler(void)
{
  __disable_irq();
  while (1)
  {
  }
}
